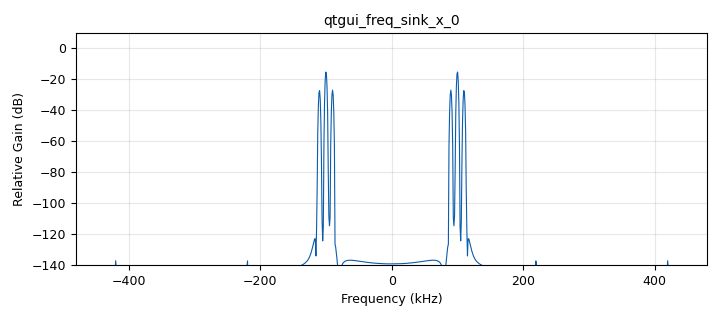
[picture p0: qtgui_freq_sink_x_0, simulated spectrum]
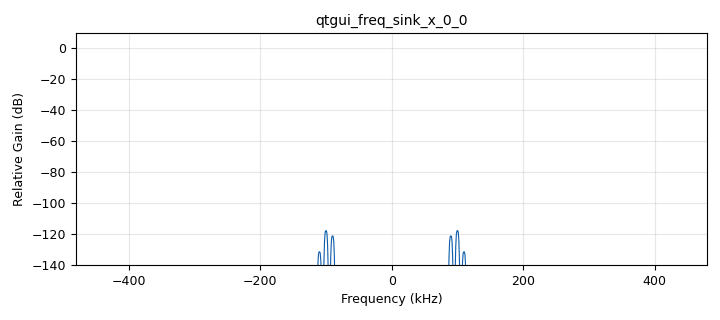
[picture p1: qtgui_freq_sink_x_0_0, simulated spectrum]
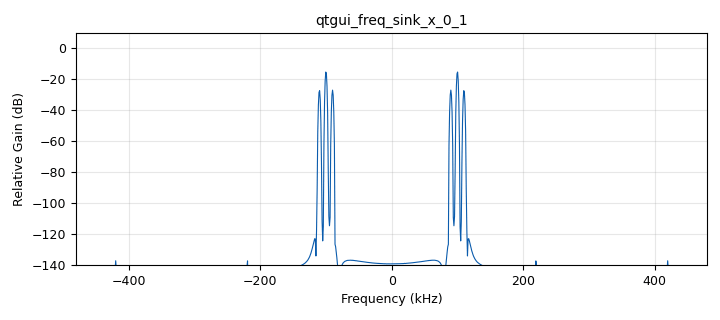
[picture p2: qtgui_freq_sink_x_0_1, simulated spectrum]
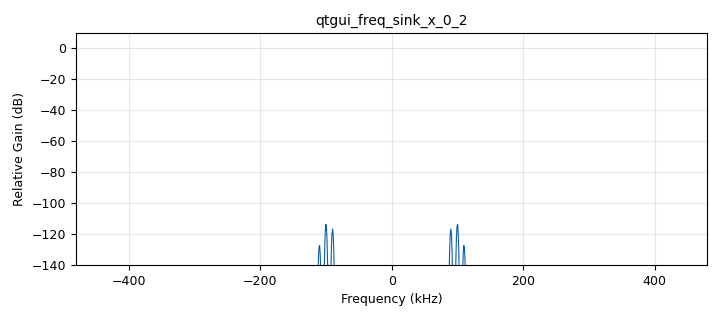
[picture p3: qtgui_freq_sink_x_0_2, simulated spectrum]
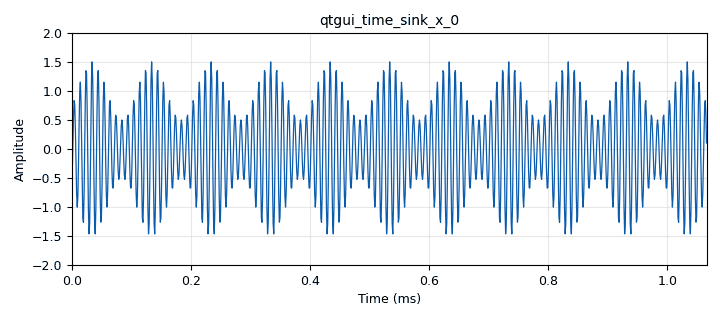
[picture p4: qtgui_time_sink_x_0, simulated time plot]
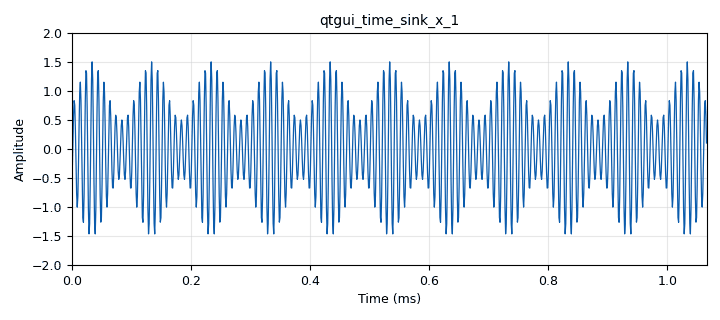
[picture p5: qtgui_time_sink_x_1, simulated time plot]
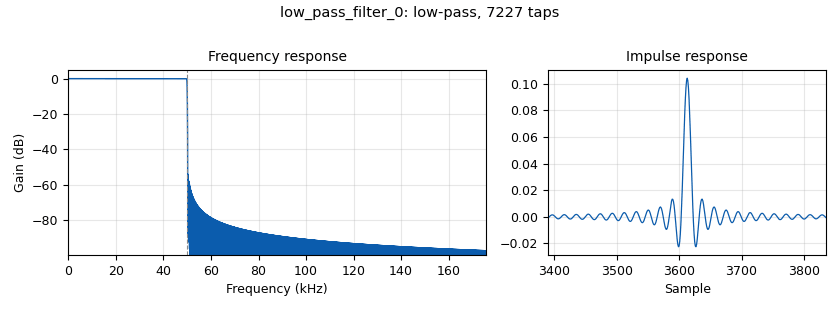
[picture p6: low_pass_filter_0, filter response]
options:
  parameters:
    generate_options: qt_gui
    id: dsbfc
    output_language: python
    title: Not titled yet
  states: {}

blocks:
- name: fc
  id: variable
  parameters:
    value: '100000'
  states: {}
- name: fm
  id: variable
  parameters:
    value: '10000'
  states: {}
- name: samp_rate
  id: variable
  parameters:
    value: '960000'
  states: {}
- name: analog_sig_source_x_0
  id: analog_sig_source_x
  parameters:
    amp: '1'
    freq: fc
    offset: '0'
    phase: '0'
    samp_rate: samp_rate
    type: float
    waveform: analog.GR_COS_WAVE
  states: {}
- name: analog_sig_source_x_0_0
  id: analog_sig_source_x
  parameters:
    amp: '0.5'
    freq: fm
    offset: '0'
    phase: '0'
    samp_rate: samp_rate
    type: float
    waveform: analog.GR_COS_WAVE
  states: {}
- name: blocks_add_xx_0
  id: blocks_add_xx
  parameters:
    type: float
  states: {}
- name: blocks_max_xx_0
  id: blocks_max_xx
  parameters:
    num_inputs: '2'
    type: float
  states: {}
- name: blocks_multiply_xx_0
  id: blocks_multiply_xx
  parameters:
    type: float
  states: {}
- name: blocks_null_source_0
  id: blocks_null_source
  parameters:
    type: float
  states: {state: disabled}
- name: dc_blocker_xx_0
  id: dc_blocker_xx
  parameters:
    length: '64'
    long_form: 'True'
    type: ff
  states: {}
- name: low_pass_filter_0
  id: low_pass_filter
  parameters:
    cutoff_freq: '50000'
    decim: '1'
    gain: '1'
    samp_rate: samp_rate
    type: fir_filter_fff
    width: '320'
    win: window.WIN_HAMMING
  states: {}
- name: qtgui_freq_sink_x_0
  id: qtgui_freq_sink_x
  parameters:
    bw: samp_rate
    fc: '0'
    fftsize: '1024'
    gui_hint: tab@1
    name: ''
    type: float
  states: {}
- name: qtgui_freq_sink_x_0_0
  id: qtgui_freq_sink_x
  parameters:
    bw: samp_rate
    fc: '0'
    fftsize: '1024'
    gui_hint: tab@3
    name: ''
    type: float
    wintype: window.WIN_FLATTOP
  states: {}
- name: qtgui_freq_sink_x_0_1
  id: qtgui_freq_sink_x
  parameters:
    bw: samp_rate
    fc: '0'
    fftsize: '1024'
    gui_hint: tab@0
    name: ''
    type: float
  states: {}
- name: qtgui_freq_sink_x_0_2
  id: qtgui_freq_sink_x
  parameters:
    bw: samp_rate
    fc: '0'
    fftsize: '1024'
    gui_hint: tab@2
    name: ''
    type: float
  states: {}
- name: qtgui_time_sink_x_0
  id: qtgui_time_sink_x
  parameters:
    gui_hint: tab@0
    name: ''
    size: '1024'
    srate: samp_rate
    type: float
    ymax: '2'
    ymin: '-2'
  states: {}
- name: qtgui_time_sink_x_1
  id: qtgui_time_sink_x
  parameters:
    gui_hint: tab@1
    name: ''
    size: '1024'
    srate: samp_rate
    type: float
    ymax: '2'
    ymin: '-2'
  states: {}
- name: qtgui_time_sink_x_2
  id: qtgui_time_sink_x
  parameters:
    entags: 'False'
    gui_hint: tab@2
    name: ''
    size: '1024'
    srate: samp_rate
    type: float
    ymax: '2'
    ymin: '-2'
  states: {}
- name: qtgui_time_sink_x_2_0
  id: qtgui_time_sink_x
  parameters:
    entags: 'False'
    gui_hint: tab@3
    name: ''
    size: '1024'
    srate: samp_rate
    type: float
    ymax: '2'
    ymin: '-2'
  states: {}
- name: tab
  id: qtgui_tab_widget
  parameters:
    label0: Modulated
    label1: Modulated (Clipped)
    label2: Envelope
    label3: Demodulated
    num_tabs: '4'
  states: {}

connections:
- [analog_sig_source_x_0, '0', blocks_add_xx_0, '0']
- [analog_sig_source_x_0, '0', blocks_multiply_xx_0, '0']
- [analog_sig_source_x_0_0, '0', blocks_multiply_xx_0, '1']
- [blocks_add_xx_0, '0', blocks_max_xx_0, '0']
- [blocks_add_xx_0, '0', blocks_max_xx_0, '1']
- [blocks_add_xx_0, '0', qtgui_freq_sink_x_0_1, '0']
- [blocks_add_xx_0, '0', qtgui_time_sink_x_0, '0']
- [blocks_max_xx_0, '0', low_pass_filter_0, '0']
- [blocks_max_xx_0, '0', qtgui_freq_sink_x_0, '0']
- [blocks_max_xx_0, '0', qtgui_time_sink_x_1, '0']
- [blocks_multiply_xx_0, '0', blocks_add_xx_0, '1']
- [blocks_null_source_0, '0', blocks_max_xx_0, '0']
- [dc_blocker_xx_0, '0', qtgui_freq_sink_x_0_0, '0']
- [dc_blocker_xx_0, '0', qtgui_time_sink_x_2_0, '0']
- [low_pass_filter_0, '0', dc_blocker_xx_0, '0']
- [low_pass_filter_0, '0', qtgui_freq_sink_x_0_2, '0']
- [low_pass_filter_0, '0', qtgui_time_sink_x_2, '0']

metadata:
  file_format: 1
  grc_version: 3.10.9.2
